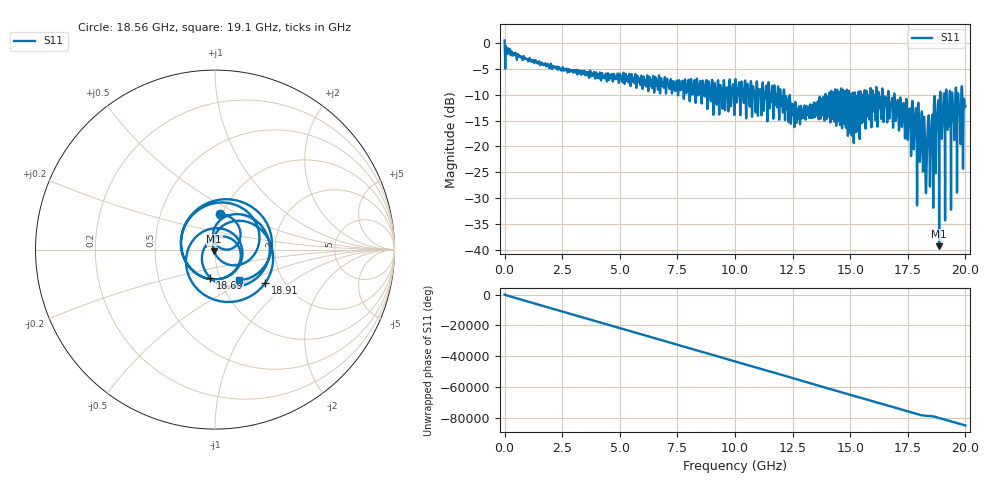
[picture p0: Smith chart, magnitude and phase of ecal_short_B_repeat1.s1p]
! MS46122B
! 2250307/22442219
! 7/22/2025 3:21:20 PM
! C:\USERS\SPARKY\DOCUMENTS\VNA_DATA\JULY22_2025\295\ECAL_SHORT_B_REPEAT1.S1P
! CHANNEL.1
! TR.MEASUREMENT
! RAW.DATA
# GHZ S RI R 50.0
! FREQ.GHZ  S11RE  S11IM
!; PortSelection: Port_1
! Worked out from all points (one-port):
!   10001 points, 1 MHz to 20 GHz, reference 50 ohm
!   lowest |S11| = -39.2 dB at 18.86 GHz (marker M1), VSWR 1.02, Z = 49.5 - j0.989 ohm
!   |S11| at or under -10 dB: 12.14 GHz to 13.92 GHz (1.781 GHz wide, 13.7 % of centre); 16.67 GHz to 16.91 GHz (235.5 MHz wide, 1.4 % of centre); 16.92 GHz to 18.9 GHz (1.978 GHz wide, 11 % of centre) (the widest 3 of 72)
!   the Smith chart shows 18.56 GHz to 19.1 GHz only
!   S11 on the Smith chart (normalised r, x): 18.56 GHz: 0.98, +0.41; 18.69 GHz: 0.90, -0.29; 18.91 GHz: 1.60, -0.67; 19.1 GHz: 1.22, -0.43
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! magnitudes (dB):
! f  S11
! 1 MHz  0.4
! 2.501 GHz  -5.0
! 5.001 GHz  -6.0
! 7.501 GHz  -8.4
! 10 GHz  -8.4
! 11.79 GHz  -10.0
! 12.5 GHz  -13.9
! 14.27 GHz  -9.6
! 15 GHz  -13.8
! 16.32 GHz  -10.8
! 17.5 GHz  -18.6
! 17.57 GHz  -12.8
! 17.78 GHz  -17.5
! 17.83 GHz  -13.9
! 17.89 GHz  -23.1
! 17.98 GHz  -13.5
! 18.15 GHz  -23.4
! 18.24 GHz  -19.3
! 18.56 GHz  -13.9
! 18.69 GHz  -16.0
! 18.79 GHz  -13.2
! 18.86 GHz  -39.2
! 18.91 GHz  -9.5
! 19.1 GHz  -13.4
! 19.45 GHz  -12.5
! 19.51 GHz  -15.3
! 19.56 GHz  -11.5
! 20 GHz  -12.2
